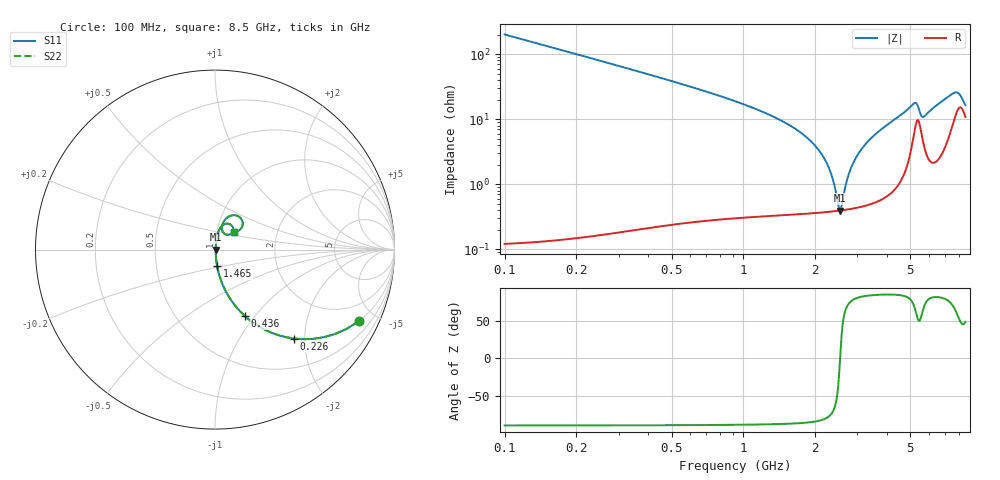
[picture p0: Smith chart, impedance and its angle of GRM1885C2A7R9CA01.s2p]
!Murata Part Number: GRM1885C2A7R9CA01
!These Parameters are Measured in Series Mode Connection
!Data Generated on Mar 30, 2021
!  o--ll--o
!Port1  Port2
!  o------o
!Operation Temp=25[degC], DC Bias Voltage=0[V]
!Freq. Start=100[MHz] Stop=9[GHz] 401[Steps]
# Hz S RI R 50
!Freq.(Hz) S11(Real) S11(Imag) S21(Real) S21(Imag) S12(Real) S12(Imag) S22(Real) S22(Imag)
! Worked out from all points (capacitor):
!   401 points, 100 MHz to 8.5 GHz, reference 50 ohm
!   read as one part in series: C = 7.91 pF near 142 MHz
!   lowest |Z| = 394 mohm at 2.536 GHz (marker M1)
!   series resonance near 2.539 GHz, so ESL is about 500 pH
!   S11 on the Smith chart (normalised r, x): 100 MHz: 1.00, -4.02; 226 MHz: 1.00, -1.77; 436 MHz: 1.00, -0.90; 1.465 GHz: 1.01, -0.18; 8.5 GHz: 1.22, +0.25
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1e8  0.8016 -0.3985  0.1984 0.3985  0.1984 0.3985  0.8016 -0.3985
2.26e8  0.4386 -0.4953  0.5614 0.4953  0.5614 0.4953  0.4386 -0.4953
4.36e8  0.1682 -0.3716  0.8318 0.3716  0.8318 0.3716  0.1682 -0.3716
7.72e8  0.0554 -0.2228  0.9446 0.2228  0.9446 0.2228  0.0554 -0.2228
1.465e9  0.0116 -0.0907  0.9884 0.0907  0.9884 0.0907  0.0116 -0.0907
1.507e9  0.0108 -0.0857  0.9892 0.0857  0.9892 0.0857  0.0108 -0.0857
1.906e9  0.00568 -0.0461  0.9943 0.0461  0.9943 0.0461  0.00568 -0.0461
2.179e9  0.00429 -0.0245  0.9957 0.0245  0.9957 0.0245  0.00429 -0.0245
2.347e9  0.00395 -0.0126  0.9961 0.0126  0.9961 0.0126  0.00395 -0.0126
2.494e9  0.0039 -0.00289  0.9961 0.00289  0.9961 0.00289  0.0039 -0.00289
2.536e9  0.00392 -0.000203  0.9961 0.000203  0.9961 0.000203  0.00392 -0.000203
2.578e9  0.00396 0.00244  0.996 -0.00244  0.996 -0.00244  0.00396 0.00244
2.746e9  0.00425 0.0127  0.9958 -0.0127  0.9958 -0.0127  0.00425 0.0127
2.914e9  0.00475 0.0224  0.9952 -0.0224  0.9952 -0.0224  0.00475 0.0224
3.418e9  0.00742 0.0498  0.9926 -0.0498  0.9926 -0.0498  0.00742 0.0498
4.3e9  0.0176 0.0963  0.9824 -0.0963  0.9824 -0.0963  0.0176 0.0963
5.203e9  0.083 0.1416  0.917 -0.1416  0.917 -0.1416  0.083 0.1416
5.56e9  0.0654 0.0829  0.9346 -0.0829  0.9346 -0.0829  0.0654 0.0829
5.707e9  0.0465 0.0947  0.9535 -0.0947  0.9535 -0.0947  0.0465 0.0947
7.114e9  0.0793 0.1854  0.9207 -0.1854  0.9207 -0.1854  0.0793 0.1854
7.849e9  0.1494 0.166  0.8506 -0.166  0.8506 -0.166  0.1494 0.166
8.5e9  0.1086 0.0994  0.8914 -0.0994  0.8914 -0.0994  0.1086 0.0994
